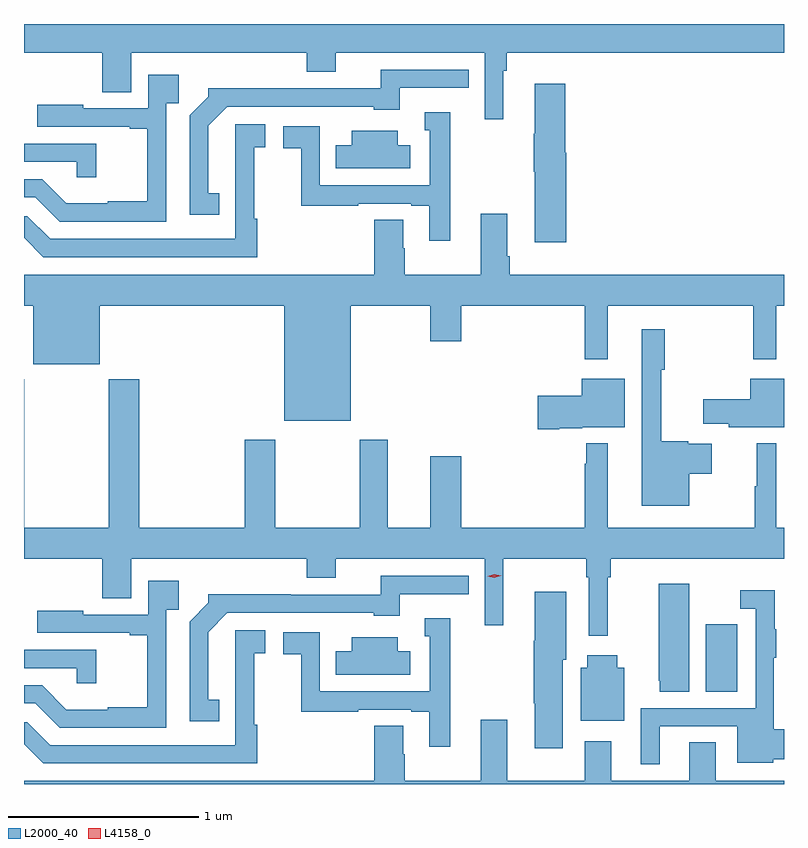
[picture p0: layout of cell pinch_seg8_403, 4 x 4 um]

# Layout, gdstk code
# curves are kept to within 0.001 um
import gdstk
lib = gdstk.Library(unit=1e-6, precision=1e-09)
def R(c, l, rs):  # rectangles x0, y0, x1, y1
    for r in rs: c.add(gdstk.rectangle(r[:2], r[2:], *l))
def P(c, l, *ps):  # polygons
    for p in ps: c.add(gdstk.Polygon(p, *l))
L2000_40 = (2000, 40)
L4158_0 = (4158, 0)

pinch_seg8_403 = lib.new_cell('pinch_seg8_403')
R(pinch_seg8_403, L2000_40, [(526.1,1113.136,526.264,1113.493)])
P(pinch_seg8_403, L2000_40, [(525.034,1116.404),(525.053,1116.404),(525.053,1116.5),(526.511,1116.5),(526.511,1116.651),(522.511,1116.651),(522.511,1116.5),(522.923,1116.5),(522.923,1116.292),(523.075,1116.292),(523.075,1116.5),(524,1116.5),(524,1116.401),(524.152,1116.401),(524.152,1116.5),(524.937,1116.5),(524.937,1116.15),(525.034,1116.15)],
  [(523.538,1115.759),(523.48,1115.759),(523.48,1116.115),(523.581,1116.216),(524.352,1116.216),(524.352,1116.2),(524.488,1116.2),(524.488,1116.315),(524.852,1116.315),(524.852,1116.411),(524.389,1116.411),(524.389,1116.312),(523.916,1116.312),(523.916,1116.314),(523.482,1116.314),(523.482,1116.269),(523.383,1116.17),(523.383,1115.646),(523.538,1115.646)],
  [(523.26,1116.233),(523.325,1116.233),(523.325,1116.385),(523.164,1116.385),(523.164,1116.207),(522.823,1116.207),(522.823,1116.226),(522.58,1116.226),(522.58,1116.111),(523.067,1116.111),(523.067,1116.099),(523.159,1116.099),(523.159,1115.719),(522.953,1115.719),(522.953,1115.707),(522.734,1115.707),(522.606,1115.835),(522.511,1115.835),(522.511,1115.739),(522.57,1115.739),(522.699,1115.61),(523.26,1115.61)],
  [(525.364,1115.973),(525.359,1115.973),(525.359,1116.337),(525.2,1116.337),(525.2,1116.073),(525.193,1116.073),(525.193,1115.873),(525.2,1115.873),(525.2,1115.502),(525.364,1115.502)],
  [(524.755,1116.187),(524.621,1116.187),(524.621,1116.093),(524.646,1116.093),(524.646,1115.802),(524.067,1115.802),(524.067,1116.114),(523.875,1116.114),(523.875,1115.998),(523.969,1115.998),(523.969,1115.694),(524.27,1115.694),(524.27,1115.706),(524.549,1115.706),(524.549,1115.694),(524.645,1115.694),(524.645,1115.511),(524.755,1115.511)],
  [(523.739,1115.627),(523.722,1115.627),(523.722,1116.003),(523.78,1116.003),(523.78,1116.124),(523.622,1116.124),(523.623,1115.52),(522.648,1115.52),(522.528,1115.64),(522.511,1115.64),(522.511,1115.525),(522.612,1115.424),(523.739,1115.424)],
  [(524.545,1116.013),(524.479,1116.013),(524.479,1116.088),(524.237,1116.088),(524.237,1116.013),(524.152,1116.013),(524.152,1115.891),(524.545,1115.891)],
  [(522.89,1116.021),(522.511,1116.021),(522.511,1115.925),(522.789,1115.925),(522.789,1115.844),(522.89,1115.844)],
  [(524.23,1115.168),(524.648,1115.168),(524.648,1114.98),(524.812,1114.98),(524.812,1115.168),(525.462,1115.168),(525.462,1114.887),(525.583,1114.887),(525.583,1115.168),(526.35,1115.168),(526.35,1114.887),(526.471,1114.887),(526.471,1115.168),(526.511,1115.168),(526.511,1115.332),(525.068,1115.332),(525.068,1115.428),(525.055,1115.428),(525.055,1115.653),(524.915,1115.653),(524.915,1115.332),(524.514,1115.332),(524.514,1115.471),(524.506,1115.471),(524.506,1115.621),(524.354,1115.621),(524.354,1115.332),(522.511,1115.332),(522.511,1115.168),(522.56,1115.168),(522.56,1114.859),(522.91,1114.859),(522.91,1115.168),(523.88,1115.168),(523.88,1114.562),(524.23,1114.562)],
  [(526.012,1114.283),(526.132,1114.283),(526.132,1114.441),(526.008,1114.441),(526.008,1114.454),(525.865,1114.454),(525.865,1114.831),(525.883,1114.831),(525.883,1115.044),(525.761,1115.044),(525.761,1114.115),(526.012,1114.115)],
  [(525.328,1114.523),(525.45,1114.523),(525.45,1114.529),(525.673,1114.529),(525.673,1114.783),(525.446,1114.783),(525.446,1114.695),(525.216,1114.695),(525.216,1114.517),(525.328,1114.517)],
  [(526.511,1114.783),(526.334,1114.783),(526.334,1114.677),(526.086,1114.677),(526.086,1114.547),(526.219,1114.547),(526.219,1114.529),(526.511,1114.529)],
  [(525.584,1113.74),(525.599,1113.74),(525.599,1113.836),(526.511,1113.836),(526.511,1114),(526.471,1114),(526.471,1114.444),(526.367,1114.444),(526.367,1114.217),(526.357,1114.217),(526.357,1114),(525.583,1114),(525.583,1114.444),(525.469,1114.444),(525.469,1114.337),(525.462,1114.337),(525.462,1114),(524.812,1114),(524.812,1114.375),(524.648,1114.375),(524.648,1114),(524.425,1114),(524.425,1114.462),(524.278,1114.462),(524.278,1114),(523.833,1114),(523.833,1114.462),(523.673,1114.462),(523.673,1114),(523.118,1114),(523.118,1114.78),(522.958,1114.78),(522.958,1114),(522.513,1114),(522.513,1114.78),(522.511,1114.78),(522.511,1113.836),(522.923,1113.836),(522.923,1113.628),(523.075,1113.628),(523.075,1113.836),(524,1113.836),(524,1113.737),(524.152,1113.737),(524.152,1113.836),(524.937,1113.836),(524.937,1113.486),(525.034,1113.486),(525.034,1113.836),(525.471,1113.836),(525.471,1113.74),(525.483,1113.74),(525.483,1113.432),(525.584,1113.432)],
  [(523.538,1113.095),(523.48,1113.095),(523.48,1113.451),(523.581,1113.552),(524.352,1113.552),(524.352,1113.536),(524.488,1113.536),(524.488,1113.651),(524.852,1113.651),(524.852,1113.747),(524.389,1113.747),(524.389,1113.648),(523.916,1113.648),(523.916,1113.65),(523.482,1113.65),(523.482,1113.605),(523.383,1113.506),(523.383,1112.982),(523.538,1112.982)],
  [(523.26,1113.569),(523.325,1113.569),(523.325,1113.721),(523.164,1113.721),(523.164,1113.543),(522.823,1113.543),(522.823,1113.562),(522.58,1113.562),(522.58,1113.447),(523.067,1113.447),(523.067,1113.435),(523.159,1113.435),(523.159,1113.055),(522.953,1113.055),(522.953,1113.043),(522.734,1113.043),(522.606,1113.171),(522.511,1113.171),(522.511,1113.075),(522.57,1113.075),(522.699,1112.946),(523.26,1112.946)],
  [(526.012,1113.706),(525.851,1113.706),(525.851,1113.195),(525.857,1113.195),(525.857,1113.136),(526.012,1113.136)],
  [(525.856,1112.955),(526.265,1112.955),(526.265,1112.762),(526.455,1112.762),(526.455,1112.78),(526.511,1112.78),(526.511,1112.938),(526.458,1112.938),(526.458,1113.316),(526.471,1113.316),(526.471,1113.466),(526.461,1113.466),(526.461,1113.67),(526.281,1113.67),(526.281,1113.573),(526.362,1113.573),(526.362,1113.051),(525.758,1113.051),(525.758,1112.754),(525.856,1112.754)],
  [(525.346,1113.306),(525.364,1113.306),(525.364,1113.664),(525.2,1113.664),(525.2,1113.406),(525.193,1113.406),(525.193,1113.076),(525.2,1113.076),(525.2,1112.838),(525.346,1112.838)],
  [(524.755,1113.523),(524.621,1113.523),(524.621,1113.429),(524.646,1113.429),(524.646,1113.138),(524.067,1113.138),(524.067,1113.45),(523.875,1113.45),(523.875,1113.334),(523.969,1113.334),(523.969,1113.03),(524.27,1113.03),(524.27,1113.042),(524.549,1113.042),(524.549,1113.03),(524.645,1113.03),(524.645,1112.847),(524.755,1112.847)],
  [(523.739,1112.963),(523.722,1112.963),(523.722,1113.339),(523.78,1113.339),(523.78,1113.46),(523.622,1113.46),(523.623,1112.856),(522.648,1112.856),(522.528,1112.976),(522.511,1112.976),(522.511,1112.861),(522.612,1112.76),(523.739,1112.76)],
  [(524.545,1113.349),(524.479,1113.349),(524.479,1113.424),(524.237,1113.424),(524.237,1113.349),(524.152,1113.349),(524.152,1113.227),(524.545,1113.227)],
  [(522.89,1113.357),(522.511,1113.357),(522.511,1113.261),(522.789,1113.261),(522.789,1113.18),(522.89,1113.18)],
  [(525.67,1113.262),(525.634,1113.262),(525.634,1113.328),(525.476,1113.328),(525.476,1113.262),(525.44,1113.262),(525.44,1112.984),(525.67,1112.984)],
  [(526.511,1112.668),(526.153,1112.668),(526.153,1112.87),(526.013,1112.87),(526.013,1112.668),(525.601,1112.668),(525.601,1112.875),(525.461,1112.875),(525.461,1112.668),(525.055,1112.668),(525.055,1112.989),(524.915,1112.989),(524.915,1112.668),(524.514,1112.668),(524.514,1112.807),(524.506,1112.807),(524.506,1112.957),(524.354,1112.957),(524.354,1112.668),(522.511,1112.668),(522.511,1112.651),(526.511,1112.651)])
P(pinch_seg8_403, L4158_0, [(524.986,1113.736),(524.951,1113.744),(524.95,1113.744),(524.951,1113.744),(524.986,1113.756),(525.021,1113.748),(525.022,1113.748),(525.021,1113.748)])

lib.write_gds('pinch_seg8_403.gds')
